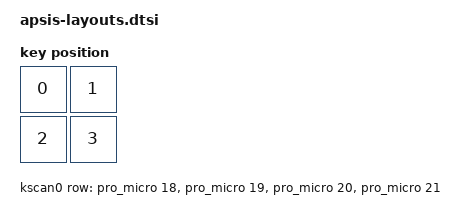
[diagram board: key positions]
// See https://zmk.dev/docs/development/hardware-integration/physical-layouts
// for how to configure this.

#include <physical_layouts.dtsi>
#include <dt-bindings/zmk/matrix_transform.h>

/ {
    physical_layout0: physical_layout_0 {
        compatible = "zmk,physical-layout";
        display-name = "Default Layout";
        transform = <&default_transform>;
        kscan = <&kscan>;

        // Edit this to define the positions and sizes of the keys, or remove it
        // if your keyboard will not support ZMK Studio.
        // https://zmk.dev/docs/development/hardware-integration/physical-layouts#optional-keys-property
        keys  //                     w   h    x    y     rot    rx    ry
            = <&key_physical_attrs 100 100    0    0       0     0     0>
            , <&key_physical_attrs 100 100  100    0       0     0     0>
            , <&key_physical_attrs 100 100    0  100       0     0     0>
            , <&key_physical_attrs 100 100  100  100       0     0     0>
            ;
    };
};

/ {
    kscan0: kscan0 {
        compatible = "zmk,kscan-gpio-matrix";
        diode-direction = "col2row";
        wakeup-source;

        row-gpios
            = <&pro_micro 18 (GPIO_ACTIVE_HIGH | GPIO_PULL_DOWN)>
            , <&pro_micro 19 (GPIO_ACTIVE_HIGH | GPIO_PULL_DOWN)>
            , <&pro_micro 20 (GPIO_ACTIVE_HIGH | GPIO_PULL_DOWN)>
            , <&pro_micro 21 (GPIO_ACTIVE_HIGH | GPIO_PULL_DOWN)>
            ;

    };
};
